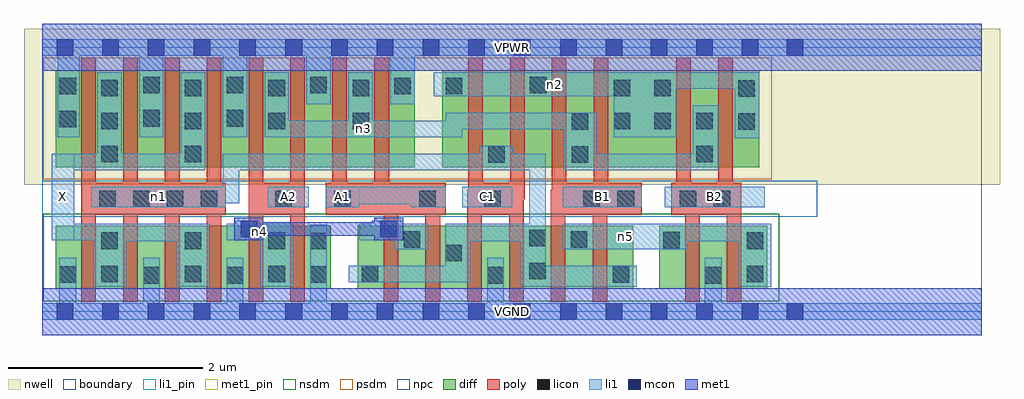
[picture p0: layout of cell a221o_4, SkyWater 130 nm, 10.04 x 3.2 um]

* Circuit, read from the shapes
.subckt a221o_4 A1 A2 B1 B2 C1 VGND VPWR X n1 n2 n3 n4 n5
XM1 X n1 VGND VSUBS sky130_fd_pr__nfet_01v8 w=0.65 l=0.15 m=4
XM2 n4 A2 VGND VSUBS sky130_fd_pr__nfet_01v8 w=0.65 l=0.15 m=2
XM3 n4 A1 n1 VSUBS sky130_fd_pr__nfet_01v8 w=0.65 l=0.15 m=2
XM4 VGND C1 n1 VSUBS sky130_fd_pr__nfet_01v8 w=0.65 l=0.15 m=2
XM5 n5 B1 n1 VSUBS sky130_fd_pr__nfet_01v8 w=0.65 l=0.15 m=2
XM6 VGND B2 n5 VSUBS sky130_fd_pr__nfet_01v8 w=0.65 l=0.15 m=2
XM7 X n1 VPWR n6 sky130_fd_pr__pfet_01v8 w=1 l=0.15 m=4
XM8 n3 A2 VPWR n6 sky130_fd_pr__pfet_01v8 w=1 l=0.15 m=2
XM9 n3 A1 VPWR n6 sky130_fd_pr__pfet_01v8 w=1 l=0.15 m=2
XM10 n1 C1 n2 n6 sky130_fd_pr__pfet_01v8 w=1 l=0.15 m=2
XM11 n3 B1 n2 n6 sky130_fd_pr__pfet_01v8 w=1 l=0.15 m=2
XM12 n3 B2 n2 n6 sky130_fd_pr__pfet_01v8 w=1 l=0.15 m=2
.ends

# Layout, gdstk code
import gdstk
lib = gdstk.Library(unit=1e-6, precision=1e-09)
def R(c, l, rs):  # rectangles x0, y0, x1, y1
    for r in rs: c.add(gdstk.rectangle(r[:2], r[2:], *l))
def A(c, l, x, y, w, h, nx, ny, dx, dy):  # array of equal rectangles
    R(c, l, [(x+i*dx, y+j*dy, x+i*dx+w, y+j*dy+h) for i in range(nx) for j in range(ny)])
nwell = (64, 20)
diff = (65, 20)
poly = (66, 20)
licon = (66, 44)
li1_pin = (67, 16)
li1 = (67, 20)
mcon = (67, 44)
met1_pin = (68, 16)
met1 = (68, 20)
nsdm = (93, 44)
psdm = (94, 20)
npc = (95, 20)
boundary = (235, 4)

a221o_4 = lib.new_cell('a221o_4')
R(a221o_4, nwell, [(-0.19,1.305,9.85,2.91), (0,1.305,9.66,2.91)])
R(a221o_4, diff, [(0.135,0.235,2.965,0.885), (3.245,0.235,6.075,0.885), (6.345,0.235,7.455,0.885), (0.135,1.485,3.83,2.485), (4.11,1.485,7.375,2.485)])
A(a221o_4, poly, 0.4, 0.105, 0.15, 2.51, 6, 1, 0.43, 0)
A(a221o_4, poly, 3.94, 0.105, 0.15, 1.22, 3, 1, 0.86, 0)
R(a221o_4, poly, [(3.51,0.105,3.66,1.325), (4.37,0.105,4.52,1.25), (5.23,0.105,5.38,1.255), (6.61,0.105,6.76,1.325), (7.04,0.105,7.19,1.325), (0.4,0.995,1.885,1.325), (2.12,0.995,2.7,1.325), (2.915,0.995,4.15,1.325), (2.98,0.995,3.13,2.615), (3.415,0.995,3.565,2.615), (4.38,0.995,4.53,2.615), (4.38,0.995,4.8,1.325), (5.24,0.995,5.39,2.615), (5.24,0.995,6.165,1.325), (5.67,0.995,5.82,2.615), (6.47,0.995,7.19,1.325), (6.52,0.995,6.67,2.615), (6.95,0.995,7.1,2.615), (4.81,1.155,4.96,2.615)])
A(a221o_4, licon, 0.605, 0.305, 0.17, 0.17, 3, 2, 0.86, 0.34)
A(a221o_4, licon, 0.605, 1.875, 0.17, 0.17, 3, 2, 0.86, 0.34)
A(a221o_4, licon, 1.035, 2.245, 0.17, 0.17, 3, 1, 0.86, 0)
R(a221o_4, licon, [(1.035,0.29,1.205,0.46), (1.895,0.29,2.065,0.46), (4.575,0.29,4.745,0.46), (6.815,0.29,6.985,0.46), (0.175,0.3,0.345,0.47), (2.755,0.3,2.925,0.47), (5.865,0.3,6.035,0.47), (3.285,0.305,3.455,0.475), (7.245,0.305,7.415,0.475), (5.005,0.335,5.175,0.505), (4.145,0.52,4.315,0.69), (2.755,0.64,2.925,0.81), (7.245,0.645,7.415,0.815), (6.385,0.65,6.555,0.82), (3.715,0.66,3.885,0.83), (5.435,0.66,5.605,0.83), (5.005,0.675,5.175,0.845), (0.585,1.075,0.755,1.245), (0.935,1.075,1.105,1.245), (1.28,1.075,1.45,1.245), (1.63,1.075,1.8,1.245), (2.395,1.075,2.565,1.245), (3,1.075,3.17,1.245), (3.875,1.075,4.045,1.245), (4.545,1.075,4.715,1.245), (5.565,1.075,5.735,1.245), (5.915,1.075,6.085,1.245), (6.555,1.075,6.725,1.245), (6.905,1.075,7.075,1.245), (4.585,1.53,4.755,1.7), (5.445,1.53,5.615,1.7), (0.605,1.535,0.775,1.705), (1.465,1.535,1.635,1.705), (6.725,1.535,6.895,1.705), (5.445,1.87,5.615,2.04), (7.155,1.87,7.325,2.04), (3.19,1.875,3.36,2.045), (5.875,1.875,6.045,2.045), (6.295,1.875,6.465,2.045), (6.725,1.875,6.895,2.045), (0.175,1.895,0.345,2.065), (1.035,1.905,1.205,2.075), (1.895,1.905,2.065,2.075), (7.155,2.21,7.325,2.38), (3.19,2.215,3.36,2.385), (5.875,2.215,6.045,2.385), (6.295,2.215,6.465,2.385), (0.175,2.235,0.345,2.405), (3.62,2.235,3.79,2.405), (4.15,2.235,4.32,2.405), (5.015,2.245,5.185,2.415)])
R(a221o_4, li1_pin, [(0.095,0.735,0.325,1.625), (2.315,1.075,2.74,1.285), (2.915,1.075,3.26,1.285), (4.32,1.075,4.83,1.285), (5.35,1.075,6.165,1.285), (6.4,1.075,7.43,1.285)])
A(a221o_4, li1, 0.175, -0.085, 0.17, 0.64, 3, 1, 0.86, 0)
A(a221o_4, li1, 0.52, 0.255, 0.34, 0.65, 3, 1, 0.86, 0)
R(a221o_4, li1, [(0,-0.085,9.66,0.085), (2.755,-0.085,2.925,0.895), (4.575,-0.085,4.745,0.555), (6.815,-0.085,6.99,0.555), (4.92,0.255,6.115,0.475), (4.92,0.255,5.175,0.905), (5.005,0.255,5.175,1.625), (7.16,0.255,7.495,0.905), (3.15,0.305,4.4,0.475), (4.145,0.305,4.4,0.905), (3.625,0.645,3.97,0.905), (5.35,0.645,6.64,0.905), (0.52,0.725,1.72,0.905), (4.145,0.725,5.175,0.905), (5.35,0.725,7.495,0.905), (0.095,0.735,1.72,0.905), (0.095,0.735,0.325,1.625), (1.895,0.735,2.58,0.905), (1.985,0.735,2.21,0.935), (3.26,0.735,3.97,0.905), (3.385,0.735,3.69,0.935), (0.5,1.075,1.885,1.285), (2.315,1.075,2.74,1.285), (2.915,1.075,3.26,1.285), (3.79,1.075,4.15,1.285), (4.32,1.075,4.83,1.285), (5.35,1.075,6.165,1.285), (6.4,1.075,7.43,1.285), (2.915,1.105,4.15,1.285), (1.855,1.115,2.025,1.625), (0.095,1.455,1.675,1.625), (0.565,1.455,0.815,2.465), (1.425,1.455,1.675,2.465), (1.855,1.455,5.175,1.625), (4.5,1.455,4.84,1.705), (5.36,1.455,6.95,1.625), (5.36,1.455,5.7,2.045), (6.69,1.455,6.95,2.125), (7.12,1.785,7.375,2.465), (0.155,1.795,0.385,2.805), (0.995,1.795,1.245,2.805), (1.855,1.795,2.105,2.805), (2.285,1.795,4.32,1.965), (2.285,1.795,2.535,2.465), (3.145,1.795,3.4,2.465), (5.875,1.795,6.52,2.465), (4.15,1.875,5.7,2.045), (2.715,2.135,2.965,2.805), (3.575,2.135,3.83,2.805), (4.025,2.215,6.52,2.465), (4.025,2.295,7.375,2.465), (0,2.635,9.66,2.805)])
A(a221o_4, mcon, 0.145, -0.085, 0.17, 0.17, 5, 2, 0.47, 2.72)
A(a221o_4, mcon, 2.5, -0.085, 0.17, 0.17, 6, 2, 0.47, 2.72)
A(a221o_4, mcon, 6.255, -0.085, 0.17, 0.17, 3, 2, 0.47, 2.72)
R(a221o_4, mcon, [(5.325,-0.085,5.495,0.085), (5.795,-0.085,5.965,0.085), (7.655,-0.085,7.825,0.085), (2.04,0.765,2.21,0.935), (3.475,0.765,3.645,0.935), (5.325,2.635,5.495,2.805), (5.795,2.635,5.965,2.805), (7.655,2.635,7.825,2.805)])
R(a221o_4, met1_pin, [(0,-0.24,9.66,0.24), (0,2.48,9.66,2.96)])
R(a221o_4, met1, [(0,-0.24,9.66,0.24), (1.975,0.735,2.27,0.965), (3.415,0.735,3.71,0.965), (1.975,0.78,3.71,0.92), (0,2.48,9.66,2.96)])
R(a221o_4, nsdm, [(0.01,0.11,7.58,1.01)])
R(a221o_4, psdm, [(0.01,1.36,7.5,2.61)])
R(a221o_4, npc, [(0,0.975,7.97,1.345)])
R(a221o_4, boundary, [(0,0,9.66,2.72)])
a221o_4.add(gdstk.Label('A1', (3.087,1.18), layer=67, texttype=5))
a221o_4.add(gdstk.Label('A2', (2.527,1.18), layer=67, texttype=5))
a221o_4.add(gdstk.Label('B1', (5.757,1.18), layer=67, texttype=5))
a221o_4.add(gdstk.Label('B2', (6.915,1.18), layer=67, texttype=5))
a221o_4.add(gdstk.Label('C1', (4.575,1.18), layer=67, texttype=5))
a221o_4.add(gdstk.Label('X', (0.21,1.18), layer=67, texttype=5))
a221o_4.add(gdstk.Label('n5', (5.995,0.775), layer=67, texttype=5))
a221o_4.add(gdstk.Label('n4', (2.237,0.82), layer=67, texttype=5))
a221o_4.add(gdstk.Label('n1', (1.192,1.18), layer=67, texttype=5))
a221o_4.add(gdstk.Label('n3', (3.302,1.88), layer=67, texttype=5))
a221o_4.add(gdstk.Label('n2', (5.272,2.34), layer=67, texttype=5))
a221o_4.add(gdstk.Label('VPWR', (4.83,2.72), layer=68, texttype=5))
a221o_4.add(gdstk.Label('VGND', (4.83,0), layer=68, texttype=5))
a221o_4.add(gdstk.Label('A1', (3.087,1.18), layer=67, texttype=16))
a221o_4.add(gdstk.Label('A2', (2.527,1.18), layer=67, texttype=16))
a221o_4.add(gdstk.Label('B1', (5.757,1.18), layer=67, texttype=16))
a221o_4.add(gdstk.Label('B2', (6.915,1.18), layer=67, texttype=16))
a221o_4.add(gdstk.Label('C1', (4.575,1.18), layer=67, texttype=16))
a221o_4.add(gdstk.Label('X', (0.21,1.18), layer=67, texttype=16))
a221o_4.add(gdstk.Label('VPWR', (4.83,2.72), layer=68, texttype=16))
a221o_4.add(gdstk.Label('VGND', (4.83,0), layer=68, texttype=16))

lib.write_gds('a221o_4.gds')
